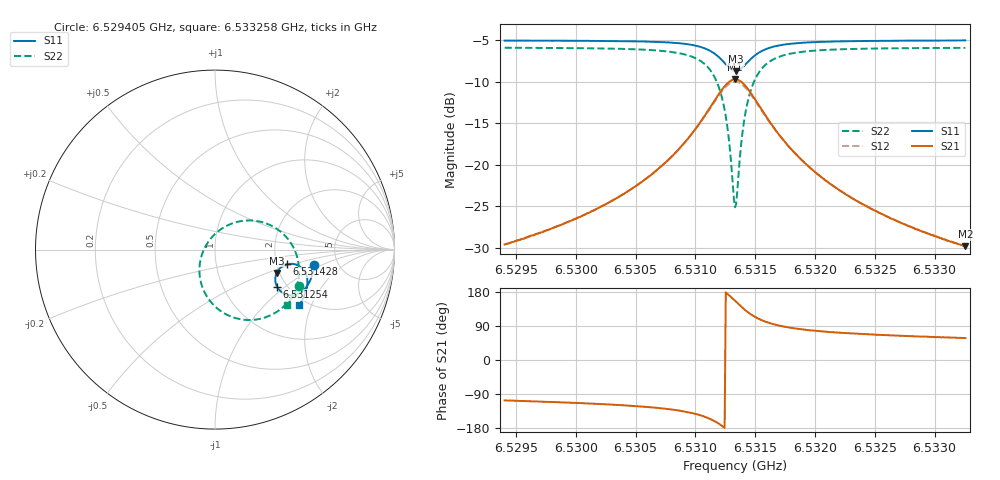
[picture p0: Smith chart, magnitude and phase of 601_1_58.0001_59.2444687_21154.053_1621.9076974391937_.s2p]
#  HZ  S  RI  R  50.00
! Rohde & Schwarz Vector Network Analyzer
! Rohde-Schwarz,ZNB20-2Port,1311601062101988,3.16
! Created: UTC 3/21/2024, 1:17:13 AM
! freq[Hz]  re:S11  im:S11  re:S21  im:S21  re:S12  im:S12  re:S22  im:S22
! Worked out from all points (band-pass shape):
!   401 points, 6.529405 GHz to 6.533258 GHz, reference 50 ohm
!   highest |S21| = -9.70 dB at 6.531331 GHz (marker M1); lowest = -29.8 dB at 6.533258 GHz (marker M2)
!   |S21| within 3 dB of the highest: 6.531141 GHz to 6.531525 GHz (384.6 kHz wide, 0.00589 % of centre)
!   lowest |S11| = -8.7 dB at 6.531341 GHz (marker M3), VSWR 2.16, Z = 96.5 - j29.1 ohm
!   |S11| at or under -10 dB: nowhere
!   |S22| runs from -25.1 to -5.9 dB; largest |S21 - S12| = 0.013
!   S11 on the Smith chart (normalised r, x): 6.529405 GHz: 3.32, -0.85; 6.531254 GHz: 1.78, -0.88; 6.531428 GHz: 2.28, -0.45; 6.533258 GHz: 1.83, -1.64
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6.5294054e9  0.5537 -0.0875  -0.00954 -0.0317  -0.0102 -0.0316  0.4653 -0.2036
6.5300506e9  0.5413 -0.1416  -0.02 -0.0451  -0.021 -0.0445  0.4305 -0.2634
6.5303877e9  0.5294 -0.1735  -0.0322 -0.0574  -0.0338 -0.0566  0.398 -0.303
6.5306959e9  0.51 -0.2072  -0.0571 -0.0764  -0.0592 -0.0746  0.3417 -0.3484
6.5309174e9  0.4808 -0.2363  -0.0998 -0.0952  -0.1028 -0.0916  0.2556 -0.3847
6.5310907e9  0.43 -0.254  -0.1787 -0.0984  -0.1806 -0.0906  0.1123 -0.3809
6.531187e9  0.3813 -0.243  -0.2535 -0.0623  -0.2511 -0.0517  -0.0102 -0.3063
6.5312544e9  0.3464 -0.208  -0.303 0.00825  -0.2948 0.0184  -0.0794 -0.179
6.5312833e9  0.3376 -0.1841  -0.3127 0.0521  -0.302 0.0603  -0.0868 -0.1051
6.5313219e9  0.3376 -0.148  -0.3053 0.1166  -0.2929 0.1205  -0.0629 -0.00171
6.5313315e9  0.3401 -0.1391  -0.2996 0.1321  -0.2871 0.135  -0.0506 0.0228
6.5313411e9  0.3434 -0.1303  -0.2921 0.1471  -0.2798 0.1489  -0.0358 0.0456
6.5313508e9  0.3476 -0.122  -0.2833 0.1613  -0.2713 0.162  -0.0189 0.0671
6.5313893e9  0.3718 -0.0955  -0.2376 0.206  -0.2274 0.2033  0.0636 0.1319
6.5314278e9  0.4012 -0.0817  -0.1845 0.2287  -0.1774 0.2247  0.1548 0.1601
6.5314952e9  0.4475 -0.0824  -0.1039 0.228  -0.1004 0.2243  0.2891 0.1443
6.5315915e9  0.4874 -0.1066  -0.036 0.1923  -0.0343 0.1903  0.3981 0.0688
6.531736e9  0.5097 -0.1447  0.004 0.141  0.00505 0.1401  0.4557 -0.0337
6.5319767e9  0.5148 -0.1891  0.0197 0.0916  0.0209 0.0913  0.4677 -0.1359
6.5322464e9  0.5088 -0.223  0.0216 0.0636  0.0227 0.0634  0.4563 -0.199
6.532622e9  0.4962 -0.2587  0.0201 0.0436  0.0209 0.0434  0.4358 -0.2529
6.5332576e9  0.4708 -0.3071  0.0172 0.0274  0.0177 0.0271  0.4006 -0.311
